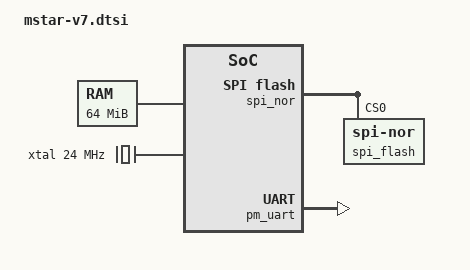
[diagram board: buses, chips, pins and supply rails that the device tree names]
// SPDX-License-Identifier: GPL-2.0
/*
 * Copyright (c) 2019 thingy.jp.
 * Author: Daniel Palmer <daniel@0x0f.com>
 */
 
#include <dt-bindings/clock/mstar.h>

/ {
	#address-cells = <1>;
	#size-cells = <1>;
	
	memory@20000000 {
		device_type = "memory";
		reg = <0x20000000 0x4000000>;
	};

	aliases: aliases {
		spi0 = &spi_nor;
		serial0 = &pm_uart;
	};

	chosen {
		stdout-path = "serial0:115200n8";
	};

	cpus {
		#address-cells = <1>;
		#size-cells = <0>;

		cpu@0 {
			device_type = "cpu";
			compatible = "arm,cortex-a7";
			reg = <0x0>;
		};
	};

	arch_timer {
		compatible = "arm,armv7-timer";
	};

	clocks: clocks {
		u-boot,dm-spl;
		u-boot,dm-preloc;

		xtal: xtal {
			u-boot,dm-spl;
			u-boot,dm-preloc;
			#clock-cells = <0>;
			compatible = "fixed-clock";
			clock-frequency = <24000000>;
		};

		xtal_div2: xtal_div2 {
			u-boot,dm-spl;
			u-boot,dm-preloc;
			#clock-cells = <0>;
			compatible = "fixed-factor-clock";
			clocks = <&xtal>;
			clock-div = <2>;
			clock-mult = <1>;
		};

		xtal_div4: xtal_div4 {
			u-boot,dm-spl;
			u-boot,dm-preloc;
			#clock-cells = <0>;
			compatible = "fixed-factor-clock";
			clocks = <&xtal>;
			clock-div = <4>;
			clock-mult = <1>;
		};

		xtal_div8: xtal_div8 {
			u-boot,dm-spl;
			u-boot,dm-preloc;
			#clock-cells = <0>;
			compatible = "fixed-factor-clock";
			clocks = <&xtal>;
			clock-div = <8>;
			clock-mult = <1>;
		};

		xtal_div16: xtal_div16 {
			u-boot,dm-spl;
			u-boot,dm-preloc;
			#clock-cells = <0>;
			compatible = "fixed-factor-clock";
			clocks = <&xtal>;
			clock-div = <16>;
			clock-mult = <1>;
		};

		xtal_div24: xtal_div24 {
			u-boot,dm-spl;
			u-boot,dm-preloc;
			#clock-cells = <0>;
			compatible = "fixed-factor-clock";
			clocks = <&xtal>;
			clock-div = <24>;
			clock-mult = <1>;
		};

		xtal_div32: xtal_div32 {
			u-boot,dm-spl;
			u-boot,dm-preloc;
			#clock-cells = <0>;
			compatible = "fixed-factor-clock";
			clocks = <&xtal>;
			clock-div = <32>;
			clock-mult = <1>;
		};

		/* a lot of chips don't the input for this broken out
		 * so it is disabled by default
		 */
		xtal_rtc: xtal_rtc {
			#clock-cells = <0>;
			compatible = "fixed-clock";
			clock-frequency = <32768>;
			status = "disabled";
		};

		xtal_rtc_div4: xtal_rtc_div4 {
			#clock-cells = <0>;
			compatible = "fixed-factor-clock";
			clocks = <&xtal_rtc>;
			clock-div = <4>;
			clock-mult = <1>;
		};

		clk_mpll_86_div2: clk_mpll_86_div2 {
			compatible = "fixed-factor-clock";
			#clock-cells = <0>;
			clocks = <&mpll MSTAR_MPLL_86>;
			clock-div = <2>;
			clock-mult = <1>;
		};

		clk_mpll_144_div2: clk_mpll_144_div2 {
			compatible = "fixed-factor-clock";
			#clock-cells = <0>;
			clocks = <&mpll MSTAR_MPLL_144>;
			clock-div = <2>;
			clock-mult = <1>;
		};

		clk_mpll_144_div4: clk_mpll_144_div4 {
			compatible = "fixed-factor-clock";
			#clock-cells = <0>;
			clocks = <&mpll MSTAR_MPLL_144>;
			clock-div = <4>;
			clock-mult = <1>;
		};

		clk_mpll_216_div2: clk_mpll_216_div2 {
			compatible = "fixed-factor-clock";
			#clock-cells = <0>;
			clocks = <&mpll MSTAR_MPLL_216>;
			clock-div = <2>;
			clock-mult = <1>;
		};

		clk_mpll_216_div4: clk_mpll_216_div4 {
			compatible = "fixed-factor-clock";
			#clock-cells = <0>;
			clocks = <&mpll MSTAR_MPLL_216>;
			clock-div = <4>;
			clock-mult = <1>;
		};

		clk_mpll_216_div8: clk_mpll_216_div8 {
			compatible = "fixed-factor-clock";
			#clock-cells = <0>;
			clocks = <&mpll MSTAR_MPLL_216>;
			clock-div = <8>;
			clock-mult = <1>;
		};

		clk_mpll_288_div2: clk_mpll_288_div2 {
			u-boot,dm-spl;
			u-boot,dm-preloc;
			compatible = "fixed-factor-clock";
			#clock-cells = <0>;
			clocks = <&mpll MSTAR_MPLL_288>;
			clock-div = <2>;
			clock-mult = <1>;
		};
	};

	soc: soc {
		compatible = "simple-bus";
		#address-cells = <1>;
		#size-cells = <1>;
		ranges;
		u-boot,dm-pre-reloc;

		spi_nor: spi_nor@1f001000 {
			compatible = "mstar,msc313-spinor";
			#address-cells = <1>;
			#size-cells = <0>;
#ifdef CONFIG_SPL_DM_SPI_FLASH
			u-boot,dm-spl;
			u-boot,dm-preloc;
#endif
			reg-names = "reg_base", "mem_base";
			reg = <0x1f001000 0x400>,
			      <0x14000000 0x2000000>;
			spi-half-duplex;
			spi_flash@0{
				compatible = "jedec,spi-nor";
#ifdef CONFIG_SPL_DM_SPI_FLASH
				u-boot,dm-spl;
				u-boot,dm-preloc;
#endif
				reg = <0>;
			};
		};

		riu: bus@1f000000 {
			compatible = "simple-bus";
			#address-cells = <1>;
			#size-cells = <1>;
			ranges = <0x0 0x1f000000 0x00400000>;
			u-boot,dm-spl;
			u-boot,dm-preloc;

			pmsleep: syscon@1c00 {
				compatible = "mstar,msc313-pmsleep", "syscon";
				u-boot,dm-spl;
				u-boot,dm-preloc;
				reg = <0x1c00 0x100>;
			};

			clkgen_mux_spi_mcu_pm: clkgen_mux@1c80 {
				compatible = "mstar,msc313e-clkgen-mux";
				reg = <0x1c80 0x4>;
				#clock-cells = <1>;
				clock-output-names = "mcu_pm", "spi_pm";
				shifts = <0>, <8>;
				mstar,deglitches = <7>, <14>;
				mux-shifts = <2>, <10>;
				mux-widths = <4>, <4>;
				mux-ranges = <0 2>, <2 17>;
				clocks = /* mcu_pm */
					 <&mpll MSTAR_MPLL_GATE_MPLL_216>,
					 /* deglitch */
					 <&xtal_div2>,
					 /* spi_pm */
					 <&xtal_rtc>,
					 <&clk_mpll_216_div8>,
					 <&clk_mpll_144_div4>,
					 <&clk_mpll_86_div2>,
					 <&clk_mpll_216_div4>,
					 <&clk_mpll_144_div2>,
					 <&mpll MSTAR_MPLL_GATE_MPLL_86>,
					 <&clk_mpll_216_div2>,
					 <&xtal_div16>,
					 <&xtal_div24>,
					 <&xtal_rtc_div4>,
					 <&xtal_div32>,
					 <&xtal_div4>,
					 <&xtal_div8>,
					 <&xtal_div2>,
					 <&xtal>,
					 /* deglitch */
					 <&xtal_div2>;
			};

			timer0: timer@6040 {
				compatible = "mstar,timer";
				u-boot,dm-spl;
				u-boot,dm-preloc;
				reg = <0x6040 0x40>;
				clocks = <&xtal_div2>;
			};

			miu: miu@202200 {
				compatible = "mstar,msc313-miu";
				u-boot,dm-spl;
				u-boot,dm-preloc;
				reg = <0x202000 100>,
				      <0x202400 100>;
				clock-names = "miupll";
				clocks = <&miupll>;
			};

			pinctrl: pinctrl@203c00 {
				reg = <0x203c00 0x200>;
				emac_pins: eth {
					function = "eth";
					groups = "eth";
				};
			};

			l3bridge: l3bridge@204400 {
				compatible = "mstar,l3bridge", "syscon";
				u-boot,dm-spl;
				u-boot,dm-preloc;
				reg = <0x204400 0x200>;
			};

			mpll: mpll@206000 {
				compatible = "mstar,mpll";
				u-boot,dm-spl;
				u-boot,dm-preloc;
				#clock-cells = <1>;
				reg = <0x206000 0x200>;
				clocks = <&xtal>;
				mstar,pmsleep = <&pmsleep>;
			};

			miupll: miupll@206200 {
				compatible = "mstar,miupll";
				u-boot,dm-spl;
				u-boot,dm-preloc;
				reg = <0x206200 0x200>;
				#clock-cells = <0>;
				clocks = <&xtal>;
			};

			cpupll: cpupll@206400 {
				compatible = "mstar,cpupll";
				u-boot,dm-spl;
				u-boot,dm-preloc;
				reg = <0x206400 0x200>;
				#clock-cells = <0>;
				clocks = <&mpll MSTAR_MPLL_432>;
				mstar,l3bridge = <&l3bridge>;
			};

			clkgen_mux_uart: clkgen_mux@2070c4 {
				compatible = "mstar,clkgen_mux";
				u-boot,dm-spl;
				u-boot,dm-preloc;
				reg = <0x2070c4 0x4>;
				#clock-cells = <1>;
				clock-output-names = "uart0", "uart1";
				shifts = <0>, <8>;
				mux-shifts = <2>, <10>;
				mux-widths = <2>, <2>;
				clocks = <&mpll MSTAR_MPLL_172>,
					 <&clk_mpll_288_div2>,
					 <&xtal_div2>;
			};

			pm_uart: uart@221000 {
				compatible = "snps,dw-apb-uart";
				u-boot,dm-spl;
				u-boot,dm-preloc;
				reg = <0x221000 0x200>;
				reg-shift = <3>;
				clocks = <&clkgen_mux_uart 0>;
				assigned-clocks = <&clkgen_mux_uart 0>;
				assigned-clock-parents = <&mpll MSTAR_MPLL_172>;
				/*clock-frequency = <12000000>;*/
			};
		};
	};
};
